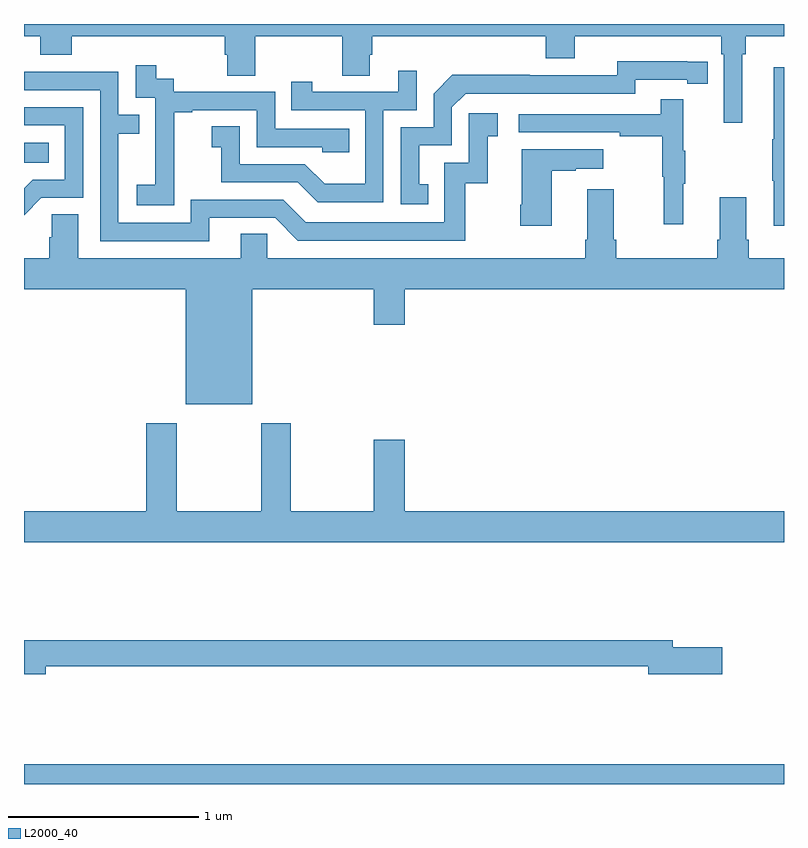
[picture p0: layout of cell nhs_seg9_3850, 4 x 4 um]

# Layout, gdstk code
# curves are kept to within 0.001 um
import gdstk
lib = gdstk.Library(unit=1e-6, precision=1e-09)
def R(c, l, rs):  # rectangles x0, y0, x1, y1
    for r in rs: c.add(gdstk.rectangle(r[:2], r[2:], *l))
def P(c, l, *ps):  # polygons
    for p in ps: c.add(gdstk.Polygon(p, *l))
L2000_40 = (2000, 40)

nhs_seg9_3850 = lib.new_cell('nhs_seg9_3850')
R(nhs_seg9_3850, L2000_40, [(331,1176.5,335,1176.604), (331,1179.77,331.13,1179.874)])
P(nhs_seg9_3850, L2000_40, [(331,1180.436),(331.085,1180.436),(331.085,1180.337),(331.25,1180.337),(331.25,1180.436),(332.057,1180.436),(332.057,1180.338),(332.069,1180.338),(332.069,1180.228),(332.217,1180.228),(332.217,1180.436),(332.674,1180.436),(332.674,1180.228),(332.821,1180.228),(332.821,1180.338),(332.834,1180.338),(332.834,1180.436),(333.746,1180.436),(333.746,1180.319),(333.898,1180.319),(333.898,1180.436),(334.67,1180.436),(334.67,1180.34),(334.683,1180.34),(334.683,1179.981),(334.78,1179.981),(334.78,1180.34),(334.799,1180.34),(334.799,1180.436),(335,1180.436),(335,1180.5),(331,1180.5)],
  [(333.128,1179.657),(333.079,1179.657),(333.079,1179.861),(333.252,1179.861),(333.252,1180.062),(333.324,1180.134),(334.218,1180.134),(334.218,1180.206),(334.49,1180.206),(334.49,1180.186),(334.598,1180.186),(334.598,1180.302),(334.122,1180.303),(334.122,1180.23),(333.662,1180.23),(333.662,1180.232),(333.254,1180.232),(333.156,1180.134),(333.156,1179.957),(332.982,1179.957),(332.982,1179.552),(333.128,1179.552)],
  [(331.791,1179.751),(331.79,1179.751),(331.79,1180.035),(331.885,1180.035),(331.885,1180.047),(332.226,1180.047),(332.226,1179.852),(332.571,1179.852),(332.571,1179.825),(332.711,1179.825),(332.711,1179.948),(332.322,1179.948),(332.322,1180.143),(331.788,1180.143),(331.788,1180.212),(331.696,1180.212),(331.696,1180.282),(331.587,1180.282),(331.587,1180.113),(331.692,1180.113),(331.692,1179.884),(331.691,1179.884),(331.691,1179.655),(331.593,1179.655),(331.593,1179.545),(331.791,1179.545)],
  [(335,1180.273),(334.946,1180.273),(334.946,1179.893),(334.939,1179.893),(334.939,1179.676),(334.946,1179.676),(334.946,1179.438),(335,1179.438)],
  [(332.892,1180.047),(333.066,1180.047),(333.066,1180.255),(332.969,1180.255),(332.969,1180.143),(332.518,1180.143),(332.518,1180.195),(332.407,1180.195),(332.407,1180.047),(332.796,1180.047),(332.796,1179.658),(332.582,1179.658),(332.478,1179.762),(332.136,1179.762),(332.136,1179.961),(331.989,1179.961),(331.989,1179.851),(332.038,1179.851),(332.038,1179.666),(332.441,1179.666),(332.546,1179.561),(332.892,1179.561)],
  [(331.975,1179.48),(332.322,1179.48),(332.442,1179.36),(333.322,1179.36),(333.322,1179.663),(333.44,1179.663),(333.44,1179.909),(333.493,1179.909),(333.493,1180.03),(333.342,1180.03),(333.342,1179.771),(333.213,1179.771),(333.213,1179.456),(332.484,1179.456),(332.364,1179.576),(331.878,1179.576),(331.878,1179.453),(331.497,1179.453),(331.497,1179.922),(331.607,1179.922),(331.607,1180.023),(331.497,1180.023),(331.497,1180.248),(331.001,1180.248),(331,1180.25),(331,1180.152),(331.401,1180.152),(331.401,1179.357),(331.975,1179.357)],
  [(334.469,1179.659),(334.48,1179.659),(334.48,1179.833),(334.469,1179.833),(334.469,1180.105),(334.351,1180.105),(334.351,1180.026),(333.603,1180.026),(333.603,1179.93),(334.135,1179.93),(334.135,1179.91),(334.359,1179.91),(334.359,1179.696),(334.366,1179.696),(334.366,1179.447),(334.469,1179.447)],
  [(331.092,1179.585),(331.311,1179.585),(331.311,1180.062),(331,1180.062),(331,1179.966),(331.215,1179.966),(331.215,1179.681),(331.046,1179.681),(331,1179.635),(331,1179.494)],
  [(333.778,1179.727),(333.905,1179.727),(333.905,1179.737),(334.048,1179.737),(334.048,1179.841),(333.62,1179.841),(333.62,1179.55),(333.613,1179.55),(333.613,1179.438),(333.778,1179.438)],
  [(332.2,1179.104),(332.84,1179.104),(332.84,1178.916),(333.004,1178.916),(333.004,1179.104),(335,1179.104),(335,1179.268),(334.814,1179.268),(334.814,1179.364),(334.801,1179.364),(334.801,1179.589),(334.661,1179.589),(334.661,1179.364),(334.649,1179.364),(334.649,1179.268),(334.118,1179.268),(334.118,1179.364),(334.105,1179.364),(334.105,1179.631),(333.965,1179.631),(333.965,1179.364),(333.953,1179.364),(333.953,1179.268),(332.28,1179.268),(332.28,1179.395),(332.141,1179.395),(332.141,1179.268),(331.285,1179.268),(331.285,1179.5),(331.146,1179.5),(331.146,1179.377),(331.133,1179.377),(331.133,1179.268),(331,1179.268),(331,1179.104),(331.85,1179.104),(331.85,1178.498),(332.2,1178.498)],
  [(335,1177.936),(333.004,1177.936),(333.004,1178.311),(332.84,1178.311),(332.84,1177.936),(332.403,1177.936),(332.403,1178.398),(332.248,1178.398),(332.248,1177.936),(331.803,1177.936),(331.803,1178.398),(331.643,1178.398),(331.643,1177.936),(331,1177.936),(331,1177.772),(335,1177.772)],
  [(331.114,1177.12),(334.286,1177.12),(334.286,1177.078),(334.675,1177.078),(334.675,1177.22),(334.414,1177.22),(334.414,1177.256),(331,1177.256),(331,1177.078),(331.114,1177.078)])

lib.write_gds('nhs_seg9_3850.gds')
